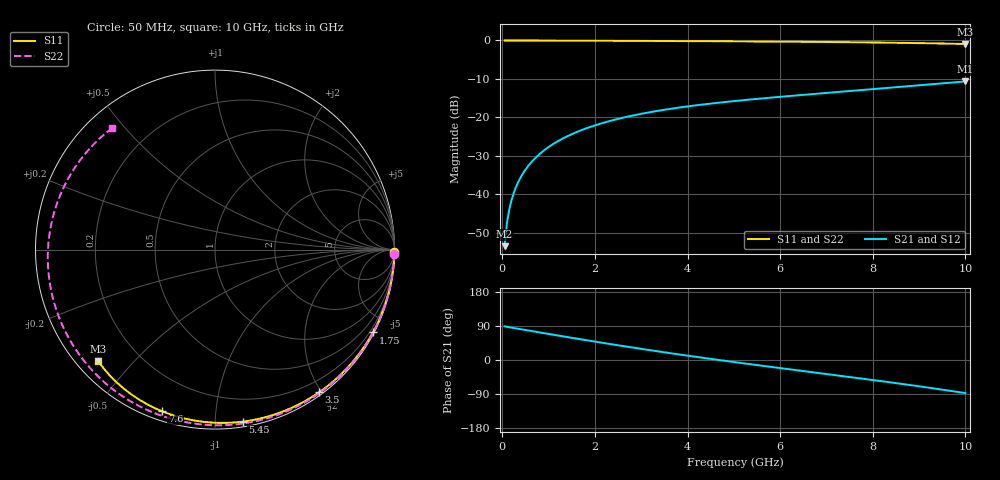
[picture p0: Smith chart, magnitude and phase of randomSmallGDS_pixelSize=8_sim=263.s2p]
! freq	dB(S11)	phase(S11)	dB(S12)	phase(S12)
!  dB(S21)	phase(S21)	dB(S22)	phase(S22)
!S-par simulation data
#  GHz  S  DB  R 50
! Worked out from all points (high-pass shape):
!   200 points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, 50 MHz to 10 GHz, reference 50 ohm
!   highest |S21| = -10.67 dB at 10 GHz (marker M1); lowest = -53.5 dB at 50 MHz (marker M2)
!   |S21| within 3 dB of the highest: 6.986 GHz to end of sweep
!   lowest |S11| = -0.9 dB at 10 GHz (marker M3), VSWR 18.97, Z = 3.06 - j20 ohm
!   |S11| at or under -10 dB: nowhere
!   |S22| runs from -1.0 to 0.0 dB; largest |S21 - S12| = 0
!   S11 on the Smith chart (normalised r, x): 50 MHz: open; 1.75 GHz: 0.06, -4.06; 3.5 GHz: 0.04, -1.97; 5.45 GHz: 0.04, -1.17; 7.6 GHz: 0.04, -0.72; 10 GHz: 0.06, -0.40
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0.05  -0.00 -0.8  -53.51 88.8  -53.51 88.8  -0.00 -1.3
0.1  -0.00 -1.6  -47.50 87.6  -47.50 87.6  -0.00 -2.6
0.15  -0.00 -2.4  -44.00 86.5  -44.00 86.5  -0.01 -4.0
0.2  -0.00 -3.2  -41.52 85.4  -41.52 85.4  -0.01 -5.3
0.35  -0.01 -5.6  -36.70 82.3  -36.70 82.3  -0.01 -9.2
0.5  -0.01 -8.0  -33.63 79.1  -33.63 79.1  -0.02 -13.1
0.7  -0.02 -11.2  -30.75 75.0  -30.75 75.0  -0.03 -18.3
1  -0.03 -15.9  -27.73 68.7  -27.73 68.7  -0.04 -26.0
1.35  -0.04 -21.4  -25.24 61.5  -25.24 61.5  -0.06 -34.9
1.75  -0.06 -27.7  -23.14 53.5  -23.14 53.5  -0.08 -45.0
2.6  -0.09 -40.6  -20.11 36.9  -20.11 36.9  -0.12 -65.6
3.4  -0.13 -52.4  -18.22 22.1  -18.22 22.1  -0.17 -84.0
3.5  -0.14 -53.9  -18.03 20.3  -18.03 20.3  -0.18 -86.3
4.25  -0.18 -64.6  -16.78 7.2  -16.78 7.2  -0.23 -102.7
5.05  -0.23 -75.6  -15.72 -6.2  -15.72 -6.2  -0.29 -119.7
5.45  -0.26 -80.9  -15.25 -12.6  -15.25 -12.6  -0.32 -128.0
6.1  -0.31 -89.4  -14.56 -22.9  -14.56 -22.9  -0.39 -141.3
6.7  -0.36 -97.0  -13.95 -32.3  -13.95 -32.3  -0.45 -153.7
7.6  -0.47 -108.1  -13.06 -46.4  -13.06 -46.4  -0.57 -172.6
8.35  -0.57 -117.1  -12.31 -58.4  -12.31 -58.4  -0.69 170.9
9.2  -0.73 -127.0  -11.46 -72.9  -11.46 -72.9  -0.86 150.9
10  -0.92 -136.2  -10.67 -87.4  -10.67 -87.4  -1.04 130.4
